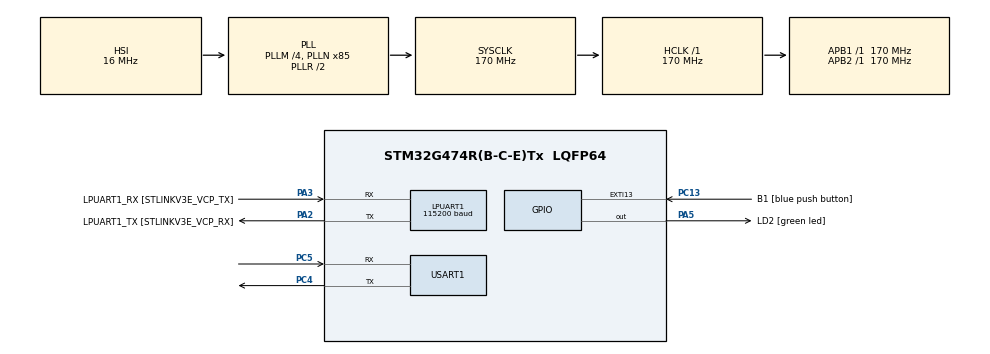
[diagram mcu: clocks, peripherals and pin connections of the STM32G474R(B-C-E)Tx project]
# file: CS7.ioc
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Dma.LPUART1_RX.0.Direction=DMA_PERIPH_TO_MEMORY
Dma.LPUART1_RX.0.EventEnable=DISABLE
Dma.LPUART1_RX.0.Instance=DMA1_Channel1
Dma.LPUART1_RX.0.MemDataAlignment=DMA_MDATAALIGN_BYTE
Dma.LPUART1_RX.0.MemInc=DMA_MINC_ENABLE
Dma.LPUART1_RX.0.Mode=DMA_CIRCULAR
Dma.LPUART1_RX.0.PeriphDataAlignment=DMA_PDATAALIGN_BYTE
Dma.LPUART1_RX.0.PeriphInc=DMA_PINC_DISABLE
Dma.LPUART1_RX.0.Polarity=HAL_DMAMUX_REQ_GEN_RISING
Dma.LPUART1_RX.0.Priority=DMA_PRIORITY_LOW
Dma.LPUART1_RX.0.RequestNumber=1
Dma.LPUART1_RX.0.SignalID=NONE
Dma.LPUART1_RX.0.SyncEnable=DISABLE
Dma.LPUART1_RX.0.SyncPolarity=HAL_DMAMUX_SYNC_NO_EVENT
Dma.LPUART1_RX.0.SyncRequestNumber=1
Dma.LPUART1_RX.0.SyncSignalID=NONE
Dma.LPUART1_TX.1.Direction=DMA_MEMORY_TO_PERIPH
Dma.LPUART1_TX.1.EventEnable=DISABLE
Dma.LPUART1_TX.1.Instance=DMA1_Channel2
Dma.LPUART1_TX.1.MemDataAlignment=DMA_MDATAALIGN_BYTE
Dma.LPUART1_TX.1.MemInc=DMA_MINC_ENABLE
Dma.LPUART1_TX.1.Mode=DMA_NORMAL
Dma.LPUART1_TX.1.PeriphDataAlignment=DMA_PDATAALIGN_BYTE
Dma.LPUART1_TX.1.PeriphInc=DMA_PINC_DISABLE
Dma.LPUART1_TX.1.Polarity=HAL_DMAMUX_REQ_GEN_RISING
Dma.LPUART1_TX.1.Priority=DMA_PRIORITY_LOW
Dma.LPUART1_TX.1.RequestNumber=1
Dma.LPUART1_TX.1.SignalID=NONE
Dma.LPUART1_TX.1.SyncEnable=DISABLE
Dma.LPUART1_TX.1.SyncPolarity=HAL_DMAMUX_SYNC_NO_EVENT
Dma.LPUART1_TX.1.SyncRequestNumber=1
Dma.LPUART1_TX.1.SyncSignalID=NONE
Dma.Request0=LPUART1_RX
Dma.Request1=LPUART1_TX
Dma.Request2=USART1_RX
Dma.Request3=USART1_TX
Dma.USART1_RX.2.Direction=DMA_PERIPH_TO_MEMORY
Dma.USART1_RX.2.EventEnable=DISABLE
Dma.USART1_RX.2.Instance=DMA1_Channel3
Dma.USART1_RX.2.MemDataAlignment=DMA_MDATAALIGN_BYTE
Dma.USART1_RX.2.MemInc=DMA_MINC_ENABLE
Dma.USART1_RX.2.Mode=DMA_CIRCULAR
Dma.USART1_RX.2.PeriphDataAlignment=DMA_PDATAALIGN_BYTE
Dma.USART1_RX.2.PeriphInc=DMA_PINC_DISABLE
Dma.USART1_RX.2.Polarity=HAL_DMAMUX_REQ_GEN_RISING
Dma.USART1_RX.2.Priority=DMA_PRIORITY_LOW
Dma.USART1_RX.2.RequestNumber=1
Dma.USART1_RX.2.SignalID=NONE
Dma.USART1_RX.2.SyncEnable=DISABLE
Dma.USART1_RX.2.SyncPolarity=HAL_DMAMUX_SYNC_NO_EVENT
Dma.USART1_RX.2.SyncRequestNumber=1
Dma.USART1_RX.2.SyncSignalID=NONE
Dma.USART1_TX.3.Direction=DMA_MEMORY_TO_PERIPH
Dma.USART1_TX.3.EventEnable=DISABLE
Dma.USART1_TX.3.Instance=DMA1_Channel4
Dma.USART1_TX.3.MemDataAlignment=DMA_MDATAALIGN_BYTE
Dma.USART1_TX.3.MemInc=DMA_MINC_ENABLE
Dma.USART1_TX.3.Mode=DMA_NORMAL
Dma.USART1_TX.3.PeriphDataAlignment=DMA_PDATAALIGN_BYTE
Dma.USART1_TX.3.PeriphInc=DMA_PINC_DISABLE
Dma.USART1_TX.3.Polarity=HAL_DMAMUX_REQ_GEN_RISING
Dma.USART1_TX.3.Priority=DMA_PRIORITY_LOW
Dma.USART1_TX.3.RequestNumber=1
Dma.USART1_TX.3.SignalID=NONE
Dma.USART1_TX.3.SyncEnable=DISABLE
Dma.USART1_TX.3.SyncPolarity=HAL_DMAMUX_SYNC_NO_EVENT
Dma.USART1_TX.3.SyncRequestNumber=1
Dma.USART1_TX.3.SyncSignalID=NONE
LPUART1.BaudRate=115200
LPUART1.WordLength=UART_WORDLENGTH_8B
Mcu.Family=STM32G4
Mcu.Name=STM32G474R(B-C-E)Tx
Mcu.Package=LQFP64
NVIC.DMA1_Channel1_IRQn=true\:0\:0\:false\:false\:true\:false\:true\:true
NVIC.DMA1_Channel2_IRQn=true\:0\:0\:false\:false\:true\:false\:true\:true
NVIC.DMA1_Channel3_IRQn=true\:0\:0\:false\:false\:true\:false\:true\:true
NVIC.DMA1_Channel4_IRQn=true\:0\:0\:false\:false\:true\:false\:true\:true
NVIC.EXTI15_10_IRQn=true\:0\:0\:false\:false\:true\:true\:true\:true
NVIC.LPUART1_IRQn=true\:0\:0\:false\:false\:true\:true\:true\:true
NVIC.PriorityGroup=NVIC_PRIORITYGROUP_4
NVIC.USART1_IRQn=true\:0\:0\:false\:false\:true\:true\:true\:true
PA13.GPIO_Label=T_SWDIO
PA13.Mode=Serial_Wire
PA13.Signal=SYS_JTMS-SWDIO
PA14.GPIO_Label=T_SWCLK
PA14.Mode=Serial_Wire
PA14.Signal=SYS_JTCK-SWCLK
PA2.GPIO_Label=LPUART1_TX [STLINKV3E_VCP_RX]
PA2.Mode=Asynchronous
PA2.Signal=LPUART1_TX
PA3.GPIO_Label=LPUART1_RX [STLINKV3E_VCP_TX]
PA3.Mode=Asynchronous
PA3.Signal=LPUART1_RX
PA5.GPIO_Label=LD2 [green led]
PA5.Signal=GPIO_Output
PB3.GPIO_Label=T_SWO
PB3.Signal=SYS_JTDO-SWO
PC13.GPIO_Label=B1 [blue push button]
PC13.Signal=GPXTI13
PC14-OSC32_IN.Mode=LSE-External-Oscillator
PC14-OSC32_IN.Signal=RCC_OSC32_IN
PC15-OSC32_OUT.Mode=LSE-External-Oscillator
PC15-OSC32_OUT.Signal=RCC_OSC32_OUT
PC4.Mode=Asynchronous
PC4.Signal=USART1_TX
PC5.Mode=Asynchronous
PC5.Signal=USART1_RX
PF0-OSC_IN.Mode=HSE-External-Oscillator
PF0-OSC_IN.Signal=RCC_OSC_IN
PF1-OSC_OUT.Mode=HSE-External-Oscillator
PF1-OSC_OUT.Signal=RCC_OSC_OUT
ProjectManager.HeapSize=0x200
ProjectManager.StackSize=0x400
ProjectManager.TargetToolchain=STM32CubeIDE
RCC.ADC12Freq_Value=170000000
RCC.ADC345Freq_Value=170000000
RCC.AHBFreq_Value=170000000
RCC.APB1Freq_Value=170000000
RCC.APB1TimFreq_Value=170000000
RCC.APB2Freq_Value=170000000
RCC.APB2TimFreq_Value=170000000
RCC.CortexFreq_Value=170000000
RCC.EXTERNAL_CLOCK_VALUE=12288000
RCC.HCLKFreq_Value=170000000
RCC.HSE_VALUE=24000000
RCC.HSI48_VALUE=48000000
RCC.HSI_VALUE=16000000
RCC.PLLM=RCC_PLLM_DIV4
RCC.PLLN=85
RCC.RTCClockSelection=RCC_RTCCLKSOURCE_LSE
RCC.SYSCLKFreq_VALUE=170000000
RCC.SYSCLKSource=RCC_SYSCLKSOURCE_PLLCLK
RCC.USBFreq_Value=170000000
RCC.VCOOutputFreq_Value=340000000
USART1.VirtualMode-Asynchronous=VM_ASYNC
VP_SYS_VS_DBSignals.Mode=DisableDeadBatterySignals
board=NUCLEO-G474RE

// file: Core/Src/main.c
/* USER CODE BEGIN Header */
/**
  ******************************************************************************
  * @file           : main.c
  * @brief          : Main program body
  ******************************************************************************
  * @attention
  *
  * Copyright (c) 2025 STMicroelectronics.
  * All rights reserved.
  *
  * This software is licensed under terms that can be found in the LICENSE file
  * in the root directory of this software component.
  * If no LICENSE file comes with this software, it is provided AS-IS.
  *
  ******************************************************************************
  */
/* USER CODE END Header */
#include "main.h"

/* USER CODE BEGIN Includes */
#include "stdio.h"
#include "string.h"
/* USER CODE END Includes */

UART_HandleTypeDef hlpuart1;
UART_HandleTypeDef huart1;
DMA_HandleTypeDef hdma_lpuart1_rx;
DMA_HandleTypeDef hdma_lpuart1_tx;
DMA_HandleTypeDef hdma_usart1_rx;
DMA_HandleTypeDef hdma_usart1_tx;

/* USER CODE BEGIN PV */
uint8_t RxBuffer[50];
uint8_t TxBuffer[50];
/* USER CODE END PV */

void SystemClock_Config(void);
static void MX_GPIO_Init(void);
static void MX_DMA_Init(void);
static void MX_LPUART1_UART_Init(void);
static void MX_USART1_UART_Init(void);
/* USER CODE BEGIN PFP */
void UARTPollingMethod();
void DummyTask();
void UARTConfig();
/* USER CODE END PFP */

int main(void)
{

  /* MCU Configuration--------------------------------------------------------*/

  /* Reset of all peripherals, Initializes the Flash interface and the Systick. */
  HAL_Init();

  /* Configure the system clock */
  SystemClock_Config();

  /* Initialize all configured peripherals */
  MX_GPIO_Init();
  MX_DMA_Init();
  MX_LPUART1_UART_Init();
  MX_USART1_UART_Init();
  /* USER CODE BEGIN 2 */
  uint8_t text[] = "HELLO ^^";
  HAL_UART_Transmit(&hlpuart1, text, 9, 10);

  UARTConfig();
  /* USER CODE END 2 */

  /* Infinite loop */
  /* USER CODE BEGIN WHILE */
  while (1)
  {
	  //UARTPollingMethod();
	  DummyTask();
	  if(HAL_GPIO_ReadPin(B1_GPIO_Port, B1_Pin)){
		  HAL_UART_Transmit(&huart1, text, 9, 10);
	  }
    /* USER CODE END WHILE */

  }
}

void SystemClock_Config(void)
{
  RCC_OscInitTypeDef RCC_OscInitStruct = {0};
  RCC_ClkInitTypeDef RCC_ClkInitStruct = {0};

  /** Configure the main internal regulator output voltage
  */
  HAL_PWREx_ControlVoltageScaling(PWR_REGULATOR_VOLTAGE_SCALE1_BOOST);

  /** Initializes the RCC Oscillators according to the specified parameters
  * in the RCC_OscInitTypeDef structure.
  */
  RCC_OscInitStruct.OscillatorType = RCC_OSCILLATORTYPE_HSI;
  RCC_OscInitStruct.HSIState = RCC_HSI_ON;
  RCC_OscInitStruct.HSICalibrationValue = RCC_HSICALIBRATION_DEFAULT;
  RCC_OscInitStruct.PLL.PLLState = RCC_PLL_ON;
  RCC_OscInitStruct.PLL.PLLSource = RCC_PLLSOURCE_HSI;
  RCC_OscInitStruct.PLL.PLLM = RCC_PLLM_DIV4;
  RCC_OscInitStruct.PLL.PLLN = 85;
  RCC_OscInitStruct.PLL.PLLP = RCC_PLLP_DIV2;
  RCC_OscInitStruct.PLL.PLLQ = RCC_PLLQ_DIV2;
  RCC_OscInitStruct.PLL.PLLR = RCC_PLLR_DIV2;
  if (HAL_RCC_OscConfig(&RCC_OscInitStruct) != HAL_OK)
  {
    Error_Handler();
  }

  /** Initializes the CPU, AHB and APB buses clocks
  */
  RCC_ClkInitStruct.ClockType = RCC_CLOCKTYPE_HCLK|RCC_CLOCKTYPE_SYSCLK
                              |RCC_CLOCKTYPE_PCLK1|RCC_CLOCKTYPE_PCLK2;
  RCC_ClkInitStruct.SYSCLKSource = RCC_SYSCLKSOURCE_PLLCLK;
  RCC_ClkInitStruct.AHBCLKDivider = RCC_SYSCLK_DIV1;
  RCC_ClkInitStruct.APB1CLKDivider = RCC_HCLK_DIV1;
  RCC_ClkInitStruct.APB2CLKDivider = RCC_HCLK_DIV1;

  if (HAL_RCC_ClockConfig(&RCC_ClkInitStruct, FLASH_LATENCY_4) != HAL_OK)
  {
    Error_Handler();
  }
}

static void MX_LPUART1_UART_Init(void)
{

  hlpuart1.Instance = LPUART1;
  hlpuart1.Init.BaudRate = 115200;
  hlpuart1.Init.WordLength = UART_WORDLENGTH_8B;
  hlpuart1.Init.StopBits = UART_STOPBITS_1;
  hlpuart1.Init.Parity = UART_PARITY_NONE;
  hlpuart1.Init.Mode = UART_MODE_TX_RX;
  hlpuart1.Init.HwFlowCtl = UART_HWCONTROL_NONE;
  hlpuart1.Init.OneBitSampling = UART_ONE_BIT_SAMPLE_DISABLE;
  hlpuart1.Init.ClockPrescaler = UART_PRESCALER_DIV1;
  hlpuart1.AdvancedInit.AdvFeatureInit = UART_ADVFEATURE_NO_INIT;
  if (HAL_UART_Init(&hlpuart1) != HAL_OK)
  {
    Error_Handler();
  }
  if (HAL_UARTEx_SetTxFifoThreshold(&hlpuart1, UART_TXFIFO_THRESHOLD_1_8) != HAL_OK)
  {
    Error_Handler();
  }
  if (HAL_UARTEx_SetRxFifoThreshold(&hlpuart1, UART_RXFIFO_THRESHOLD_1_8) != HAL_OK)
  {
    Error_Handler();
  }
  if (HAL_UARTEx_DisableFifoMode(&hlpuart1) != HAL_OK)
  {
    Error_Handler();
  }

}

static void MX_USART1_UART_Init(void)
{

  huart1.Instance = USART1;
  huart1.Init.BaudRate = 115200;
  huart1.Init.WordLength = UART_WORDLENGTH_8B;
  huart1.Init.StopBits = UART_STOPBITS_1;
  huart1.Init.Parity = UART_PARITY_NONE;
  huart1.Init.Mode = UART_MODE_TX_RX;
  huart1.Init.HwFlowCtl = UART_HWCONTROL_NONE;
  huart1.Init.OverSampling = UART_OVERSAMPLING_16;
  huart1.Init.OneBitSampling = UART_ONE_BIT_SAMPLE_DISABLE;
  huart1.Init.ClockPrescaler = UART_PRESCALER_DIV1;
  huart1.AdvancedInit.AdvFeatureInit = UART_ADVFEATURE_NO_INIT;
  if (HAL_UART_Init(&huart1) != HAL_OK)
  {
    Error_Handler();
  }
  if (HAL_UARTEx_SetTxFifoThreshold(&huart1, UART_TXFIFO_THRESHOLD_1_8) != HAL_OK)
  {
    Error_Handler();
  }
  if (HAL_UARTEx_SetRxFifoThreshold(&huart1, UART_RXFIFO_THRESHOLD_1_8) != HAL_OK)
  {
    Error_Handler();
  }
  if (HAL_UARTEx_DisableFifoMode(&huart1) != HAL_OK)
  {
    Error_Handler();
  }

}

static void MX_DMA_Init(void)
{

  /* DMA controller clock enable */
  __HAL_RCC_DMAMUX1_CLK_ENABLE();
  __HAL_RCC_DMA1_CLK_ENABLE();

  /* DMA interrupt init */
  /* DMA1_Channel1_IRQn interrupt configuration */
  HAL_NVIC_SetPriority(DMA1_Channel1_IRQn, 0, 0);
  HAL_NVIC_EnableIRQ(DMA1_Channel1_IRQn);
  /* DMA1_Channel2_IRQn interrupt configuration */
  HAL_NVIC_SetPriority(DMA1_Channel2_IRQn, 0, 0);
  HAL_NVIC_EnableIRQ(DMA1_Channel2_IRQn);
  /* DMA1_Channel3_IRQn interrupt configuration */
  HAL_NVIC_SetPriority(DMA1_Channel3_IRQn, 0, 0);
  HAL_NVIC_EnableIRQ(DMA1_Channel3_IRQn);
  /* DMA1_Channel4_IRQn interrupt configuration */
  HAL_NVIC_SetPriority(DMA1_Channel4_IRQn, 0, 0);
  HAL_NVIC_EnableIRQ(DMA1_Channel4_IRQn);

}

static void MX_GPIO_Init(void)
{
  GPIO_InitTypeDef GPIO_InitStruct = {0};

  /* GPIO Ports Clock Enable */
  __HAL_RCC_GPIOC_CLK_ENABLE();
  __HAL_RCC_GPIOF_CLK_ENABLE();
  __HAL_RCC_GPIOA_CLK_ENABLE();
  __HAL_RCC_GPIOB_CLK_ENABLE();

  /*Configure GPIO pin Output Level */
  HAL_GPIO_WritePin(LD2_GPIO_Port, LD2_Pin, GPIO_PIN_RESET);

  /*Configure GPIO pin : B1_Pin */
  GPIO_InitStruct.Pin = B1_Pin;
  GPIO_InitStruct.Mode = GPIO_MODE_IT_RISING;
  GPIO_InitStruct.Pull = GPIO_NOPULL;
  HAL_GPIO_Init(B1_GPIO_Port, &GPIO_InitStruct);

  /*Configure GPIO pin : LD2_Pin */
  GPIO_InitStruct.Pin = LD2_Pin;
  GPIO_InitStruct.Mode = GPIO_MODE_OUTPUT_PP;
  GPIO_InitStruct.Pull = GPIO_NOPULL;
  GPIO_InitStruct.Speed = GPIO_SPEED_FREQ_LOW;
  HAL_GPIO_Init(LD2_GPIO_Port, &GPIO_InitStruct);

  /* EXTI interrupt init*/
  HAL_NVIC_SetPriority(EXTI15_10_IRQn, 0, 0);
  HAL_NVIC_EnableIRQ(EXTI15_10_IRQn);

}

/* USER CODE BEGIN 4 */
void UARTPollingMethod()
{
	HAL_StatusTypeDef HAL_status = HAL_UART_Receive(&hlpuart1, RxBuffer, 10, 10000);

	if(HAL_status == HAL_OK)
	{
		RxBuffer[10] = '\0';

		sprintf((char*)TxBuffer,"Received : %s\r\n",RxBuffer);
		HAL_UART_Transmit(&hlpuart1, TxBuffer, strlen((char*)TxBuffer), 10);
	}
	else if(HAL_status == HAL_TIMEOUT)
	{
		uint32_t lastCharPos = hlpuart1.RxXferSize - hlpuart1.RxXferCount;
		RxBuffer[lastCharPos] = '\0';

		sprintf((char*)TxBuffer,"Received Timeout : %s\r\n",RxBuffer);
		HAL_UART_Transmit(&hlpuart1, TxBuffer, strlen((char*)TxBuffer), 10);
	}
}

void DummyTask()
{
	static uint32_t timestamp = 0;
	if(HAL_GetTick()>=timestamp)
	{
		timestamp = HAL_GetTick()+100;
		HAL_GPIO_TogglePin(LD2_GPIO_Port, LD2_Pin);
	}
}
void UARTConfig()
{
	HAL_UART_Receive_DMA(&huart1, RxBuffer, huart1.RxXferCount);
}
void HAL_UART_RxCpltCallback(UART_HandleTypeDef *huart)
{
	if(huart == &huart1)
	{
		uint32_t lastCharPos = huart1.RxXferSize - huart1.RxXferCount;
		RxBuffer[lastCharPos] = '\0';

		sprintf((char*)TxBuffer,"Received : %s\r\n",RxBuffer);
		HAL_UART_Transmit_DMA(&hlpuart1, TxBuffer, strlen((char*)TxBuffer));

	}
}
/* USER CODE END 4 */

void Error_Handler(void)
{
  __disable_irq();
  while (1)
  {
  }
}
